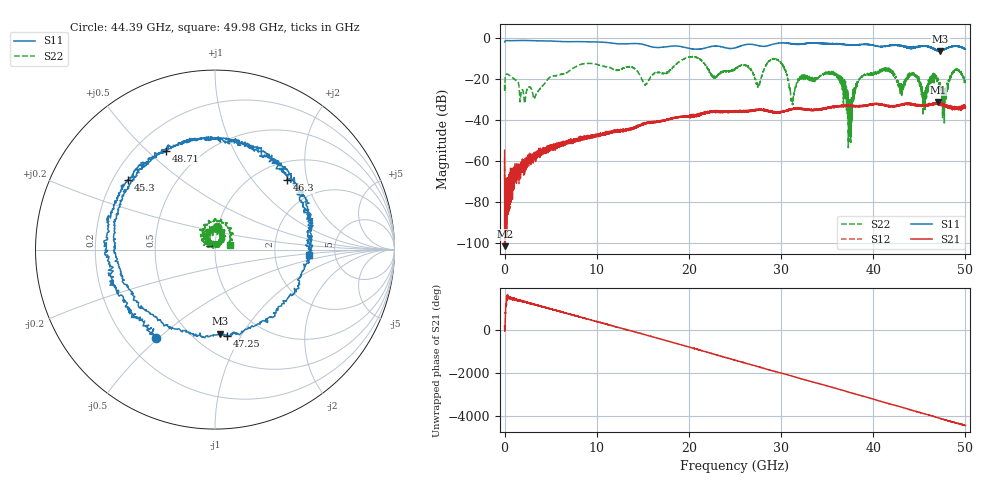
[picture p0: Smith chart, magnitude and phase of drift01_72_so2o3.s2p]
!Created with skrf (http://scikit-rf.org).
# Hz S RI R 50.0
!freq ReS11 ImS11 ReS21 ImS21 ReS12 ImS12 ReS22 ImS22
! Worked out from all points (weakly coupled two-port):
!   10001 points, 300 kHz to 50 GHz, reference 50 ohm
!   highest |S21| = -31.28 dB at 47.03 GHz (marker M1); lowest = -101.3 dB at 10.3 MHz (marker M2)
!   lowest |S11| = -6.6 dB at 47.28 GHz (marker M3), VSWR 2.77, Z = 33.5 - j40.2 ohm
!   |S11| at or under -10 dB: nowhere
!   |S22| runs from -53.4 to -9.2 dB; largest |S21 - S12| = 0.0039
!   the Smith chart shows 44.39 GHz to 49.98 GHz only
!   S11 on the Smith chart (normalised r, x): 44.39 GHz: 0.32, -0.49; 45.3 GHz: 0.26, +0.33; 46.3 GHz: 1.36, +1.52; 47.25 GHz: 0.69, -0.88; 48.71 GHz: 0.32, +0.57; 49.98 GHz: 3.16, -0.27
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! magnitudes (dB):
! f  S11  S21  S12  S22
! 300 kHz  -2.1  -54.7  -58.5  -22.8
! 10.3 MHz  -2.1  -101.3  -80.2  -25.5
! 3.29 GHz  -1.5  -56.2  -56.8  -28.8
! 8.335 GHz  -1.9  -49.1  -49.1  -12.9
! 16.67 GHz  -4.8  -40.6  -40.8  -16.7
! 25 GHz  -5.0  -35.7  -36.1  -15.3
! 29.57 GHz  -2.8  -36.6  -36.4  -10.7
! 31.23 GHz  -3.0  -34.7  -34.8  -31.9
! 33.34 GHz  -2.6  -35.1  -35.1  -20.8
! 36.14 GHz  -3.1  -33.4  -33.4  -19.0
! 37.49 GHz  -3.6  -33.3  -33.2  -33.7
! 38.65 GHz  -3.4  -33.2  -33.2  -19.5
! 41.67 GHz  -3.9  -33.4  -33.1  -15.8
! 44.39 GHz  -4.5  -32.5  -32.4  -17.8
! 45.3 GHz  -4.1  -32.9  -33.0  -24.1
! 46.3 GHz  -5.1  -32.2  -32.2  -18.8
! 47.03 GHz  -6.3  -31.3  -32.1  -19.9
! 47.25 GHz  -6.2  -32.6  -31.9  -22.8
! 47.28 GHz  -6.6  -32.4  -32.3  -24.1
! 48.71 GHz  -4.2  -33.7  -34.6  -16.5
! 49.98 GHz  -5.6  -34.1  -33.4  -21.1
! 50 GHz  -5.5  -33.8  -33.6  -21.1
